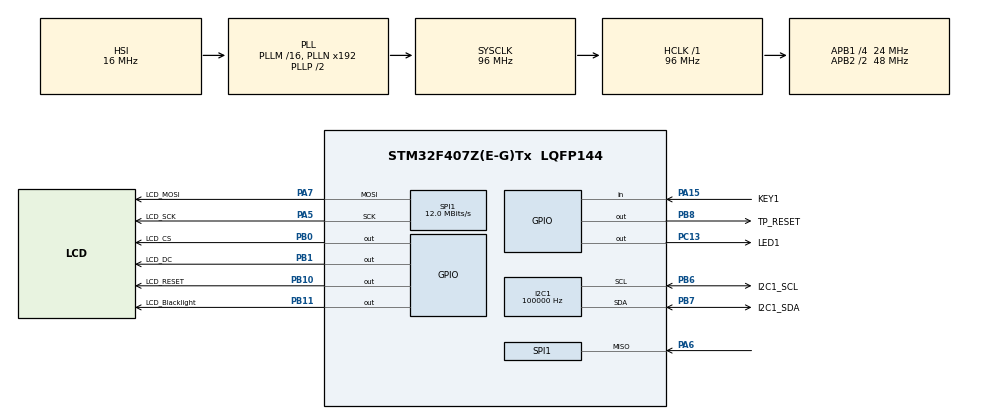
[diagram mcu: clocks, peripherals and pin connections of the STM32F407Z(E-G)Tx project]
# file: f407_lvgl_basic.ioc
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Dma.Request0=SPI1_TX
Dma.SPI1_TX.0.Direction=DMA_MEMORY_TO_PERIPH
Dma.SPI1_TX.0.FIFOMode=DMA_FIFOMODE_DISABLE
Dma.SPI1_TX.0.Instance=DMA2_Stream3
Dma.SPI1_TX.0.MemDataAlignment=DMA_MDATAALIGN_BYTE
Dma.SPI1_TX.0.MemInc=DMA_MINC_ENABLE
Dma.SPI1_TX.0.Mode=DMA_NORMAL
Dma.SPI1_TX.0.PeriphDataAlignment=DMA_PDATAALIGN_BYTE
Dma.SPI1_TX.0.PeriphInc=DMA_PINC_DISABLE
Dma.SPI1_TX.0.Priority=DMA_PRIORITY_LOW
FREERTOS.Tasks01=defaultTask,24,128,StartDefaultTask,Default,NULL,Dynamic,NULL,NULL
I2C1.ClockSpeed=100000
Mcu.Family=STM32F4
Mcu.Name=STM32F407Z(E-G)Tx
Mcu.Package=LQFP144
NVIC.DMA2_Stream3_IRQn=true\:10\:0\:true\:false\:true\:true\:false\:true\:true
NVIC.PriorityGroup=NVIC_PRIORITYGROUP_4
NVIC.TIM6_DAC_IRQn=true\:15\:0\:false\:false\:true\:false\:false\:true\:true
NVIC.TimeBase=TIM6_DAC_IRQn
NVIC.TimeBaseIP=TIM6
PA13.Mode=Serial_Wire
PA13.Signal=SYS_JTMS-SWDIO
PA14.Mode=Serial_Wire
PA14.Signal=SYS_JTCK-SWCLK
PA15.GPIO_Label=KEY1
PA15.GPIO_PuPd=GPIO_PULLUP
PA15.Signal=GPIO_Input
PA5.GPIO_Label=LCD_SCK
PA5.Mode=Full_Duplex_Master
PA5.Signal=SPI1_SCK
PA6.Mode=Full_Duplex_Master
PA6.Signal=SPI1_MISO
PA7.GPIO_Label=LCD_MOSI
PA7.Mode=Full_Duplex_Master
PA7.Signal=SPI1_MOSI
PB0.GPIO_Label=LCD_CS
PB0.Signal=GPIO_Output
PB1.GPIO_Label=LCD_DC
PB1.Signal=GPIO_Output
PB10.GPIO_Label=LCD_RESET
PB10.Signal=GPIO_Output
PB11.GPIO_Label=LCD_Blacklight
PB11.GPIO_PuPd=GPIO_PULLUP
PB11.Signal=GPIO_Output
PB6.GPIO_Label=I2C1_SCL
PB6.Mode=I2C
PB6.Signal=I2C1_SCL
PB7.GPIO_Label=I2C1_SDA
PB7.Mode=I2C
PB7.Signal=I2C1_SDA
PB8.GPIO_Label=TP_RESET
PB8.Signal=GPIO_Output
PC13-ANTI_TAMP.GPIO_Label=LED1
PC13-ANTI_TAMP.Signal=GPIO_Output
ProjectManager.HeapSize=0x200
ProjectManager.StackSize=0x400
ProjectManager.TargetToolchain=STM32CubeIDE
RCC.AHBFreq_Value=96000000
RCC.APB1CLKDivider=RCC_HCLK_DIV4
RCC.APB1Freq_Value=24000000
RCC.APB1TimFreq_Value=48000000
RCC.APB2CLKDivider=RCC_HCLK_DIV2
RCC.APB2Freq_Value=48000000
RCC.APB2TimFreq_Value=96000000
RCC.CortexFreq_Value=96000000
RCC.HCLKFreq_Value=96000000
RCC.HSE_VALUE=25000000
RCC.HSI_VALUE=16000000
RCC.LSE_VALUE=32768
RCC.SYSCLKFreq_VALUE=96000000
RCC.SYSCLKSource=RCC_SYSCLKSOURCE_PLLCLK
RCC.VCOOutputFreq_Value=192000000
SPI1.BaudRatePrescaler=SPI_BAUDRATEPRESCALER_4
SPI1.CLKPhase=SPI_PHASE_1EDGE
SPI1.CLKPolarity=SPI_POLARITY_LOW
SPI1.CalculateBaudRate=12.0 MBits/s
SPI1.Direction=SPI_DIRECTION_2LINES
SPI1.Mode=SPI_MODE_MASTER
SPI1.VirtualType=VM_MASTER
VP_FREERTOS_VS_CMSIS_V2.Mode=CMSIS_V2
VP_SYS_VS_tim6.Mode=TIM6
board=custom

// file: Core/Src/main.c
/* USER CODE BEGIN Header */
/**
  ******************************************************************************
  * @file           : main.c
  * @brief          : Main program body
  ******************************************************************************
  * @attention
  *
  * Copyright (c) 2026 STMicroelectronics.
  * All rights reserved.
  *
  * This software is licensed under terms that can be found in the LICENSE file
  * in the root directory of this software component.
  * If no LICENSE file comes with this software, it is provided AS-IS.
  *
  ******************************************************************************
  */
/* USER CODE END Header */
#include "main.h"
#include "cmsis_os.h"

/* USER CODE BEGIN Includes */
#include "lcd_spi.h"
#include "lvgl/lvgl.h"
#include "lvgl_port.h"
#include "FreeRTOS.h"
#include "task.h"
#include "ui.h"
/* USER CODE END Includes */

I2C_HandleTypeDef hi2c1;

SPI_HandleTypeDef hspi1;
DMA_HandleTypeDef hdma_spi1_tx;

/* Definitions for defaultTask */
osThreadId_t defaultTaskHandle;
const osThreadAttr_t defaultTask_attributes = {
  .name = "defaultTask",
  .stack_size = 128 * 4,
  .priority = (osPriority_t) osPriorityNormal,
};
/* USER CODE BEGIN PV */
volatile HAL_StatusTypeDef touchProbeStatus  =HAL_ERROR;
volatile uint32_t  touchProbeError  =0;//iic

uint8_t touch[5];//坐标
volatile HAL_StatusTypeDef touchStatus;//触摸状态标志

volatile uint16_t touchX = 0;
volatile uint16_t touchY = 0;

osThreadId_t LCDTaskHandle;
/* Inspect in the debugger: minimum free LCD task stack, in bytes. */
volatile uint32_t lcdTaskMinFreeStackBytes;
const osThreadAttr_t lcdTask_attributes = {
  .name = "lcdtTask",
  .stack_size = 8192,
  .priority = (osPriority_t) osPriorityNormal,
};

/* USER CODE END PV */

void SystemClock_Config(void);
static void MX_GPIO_Init(void);
static void MX_DMA_Init(void);
static void MX_SPI1_Init(void);
static void MX_I2C1_Init(void);
void StartDefaultTask(void *argument);

/* USER CODE BEGIN 0 */
static void open_page_cb(lv_event_t *e)
{
    lv_obj_t *page2 = lv_event_get_user_data(e);
    lv_screen_load(page2);
}

static void touch_read(lv_indev_t *indev, lv_indev_data_t *data)
{

	touchStatus = HAL_I2C_Mem_Read(
	    &hi2c1, 0x38U << 1, 0x02,
	    I2C_MEMADD_SIZE_8BIT, touch, 5, 50);

	data->state = LV_INDEV_STATE_RELEASED;
	data->point.x = touchX;
	data->point.y = touchY;

	if(touchStatus == HAL_OK && (touch[0] & 0x0F) ==1U)
	{
		uint16_t x = ((uint16_t)(touch[1]&0x0F) << 8) | touch[2];
		uint16_t y = ((uint16_t)(touch[3]&0x0F) << 8) | touch[4];

		if(x<240 && y<320)
		{
			touchX = x;
			touchY = y;
			data->point.x = x;
			data->point.y = y;
			data->state = LV_INDEV_STATE_PRESSED;

		}
	}

}

static void LCD_Task(void*pvParameters)
{
	(void)pvParameters;
	ST7789_Init();
	lv_init();
	lv_tick_set_cb(HAL_GetTick);
	if (!LVGL_Port_Init()) {
		Error_Handler();
	}

	//传入注册设备
	lv_indev_t *touch_indev = lv_indev_create();
	if (touch_indev == NULL) {
	    Error_Handler();
	}
	lv_indev_set_type(touch_indev, LV_INDEV_TYPE_POINTER);
	lv_indev_set_read_cb(touch_indev, touch_read);
	//

	ui_init();
	ui_set_time(8, 36, 0);
	ui_set_date("MON  /  26 OCT");
	ui_set_weather("SUNNY", 22);
	for (;;) {
		lv_timer_handler();

		lcdTaskMinFreeStackBytes = uxTaskGetStackHighWaterMark(NULL) * sizeof(StackType_t);
				osDelay(10);
		}

	}

/* USER CODE END 0 */

int main(void)
{

  /* MCU Configuration--------------------------------------------------------*/

  /* Reset of all peripherals, Initializes the Flash interface and the Systick. */
  HAL_Init();

  /* Configure the system clock */
  SystemClock_Config();

  /* Initialize all configured peripherals */
  MX_GPIO_Init();
  MX_DMA_Init();
  MX_SPI1_Init();
  MX_I2C1_Init();
  /* USER CODE BEGIN 2 */
  HAL_GPIO_WritePin(TP_RESET_GPIO_Port, TP_RESET_Pin, GPIO_PIN_RESET);
  	HAL_Delay(20);
  	HAL_GPIO_WritePin(TP_RESET_GPIO_Port, TP_RESET_Pin, GPIO_PIN_SET);
  	HAL_Delay(320);

  	touchProbeStatus = HAL_I2C_IsDeviceReady(&hi2c1, 0x38U << 1, 3, 100);
  	touchProbeError = HAL_I2C_GetError(&hi2c1);
  /* USER CODE END 2 */

  /* Init scheduler */
  osKernelInitialize();

  /* Create the thread(s) */
  /* creation of defaultTask */
  defaultTaskHandle = osThreadNew(StartDefaultTask, NULL, &defaultTask_attributes);

  /* USER CODE BEGIN RTOS_THREADS */
  /* add threads, ... */

  LCDTaskHandle = osThreadNew(LCD_Task, NULL, &lcdTask_attributes);
  if (LCDTaskHandle == NULL) {
    Error_Handler();
  }
  /* USER CODE END RTOS_THREADS */

  /* Start scheduler */
  osKernelStart();

  /* We should never get here as control is now taken by the scheduler */

  /* Infinite loop */
  while (1)
  {

  }
}

void SystemClock_Config(void)
{
  RCC_OscInitTypeDef RCC_OscInitStruct = {0};
  RCC_ClkInitTypeDef RCC_ClkInitStruct = {0};

  /** Configure the main internal regulator output voltage
  */
  __HAL_RCC_PWR_CLK_ENABLE();
  __HAL_PWR_VOLTAGESCALING_CONFIG(PWR_REGULATOR_VOLTAGE_SCALE1);

  /** Initializes the RCC Oscillators according to the specified parameters
  * in the RCC_OscInitTypeDef structure.
  */
  RCC_OscInitStruct.OscillatorType = RCC_OSCILLATORTYPE_HSI;
  RCC_OscInitStruct.HSIState = RCC_HSI_ON;
  RCC_OscInitStruct.HSICalibrationValue = RCC_HSICALIBRATION_DEFAULT;
  RCC_OscInitStruct.PLL.PLLState = RCC_PLL_ON;
  RCC_OscInitStruct.PLL.PLLSource = RCC_PLLSOURCE_HSI;
  RCC_OscInitStruct.PLL.PLLM = 16;
  RCC_OscInitStruct.PLL.PLLN = 192;
  RCC_OscInitStruct.PLL.PLLP = RCC_PLLP_DIV2;
  RCC_OscInitStruct.PLL.PLLQ = 4;
  if (HAL_RCC_OscConfig(&RCC_OscInitStruct) != HAL_OK)
  {
    Error_Handler();
  }

  /** Initializes the CPU, AHB and APB buses clocks
  */
  RCC_ClkInitStruct.ClockType = RCC_CLOCKTYPE_HCLK|RCC_CLOCKTYPE_SYSCLK
                              |RCC_CLOCKTYPE_PCLK1|RCC_CLOCKTYPE_PCLK2;
  RCC_ClkInitStruct.SYSCLKSource = RCC_SYSCLKSOURCE_PLLCLK;
  RCC_ClkInitStruct.AHBCLKDivider = RCC_SYSCLK_DIV1;
  RCC_ClkInitStruct.APB1CLKDivider = RCC_HCLK_DIV4;
  RCC_ClkInitStruct.APB2CLKDivider = RCC_HCLK_DIV2;

  if (HAL_RCC_ClockConfig(&RCC_ClkInitStruct, FLASH_LATENCY_3) != HAL_OK)
  {
    Error_Handler();
  }
}

static void MX_I2C1_Init(void)
{

  hi2c1.Instance = I2C1;
  hi2c1.Init.ClockSpeed = 100000;
  hi2c1.Init.DutyCycle = I2C_DUTYCYCLE_2;
  hi2c1.Init.OwnAddress1 = 0;
  hi2c1.Init.AddressingMode = I2C_ADDRESSINGMODE_7BIT;
  hi2c1.Init.DualAddressMode = I2C_DUALADDRESS_DISABLE;
  hi2c1.Init.OwnAddress2 = 0;
  hi2c1.Init.GeneralCallMode = I2C_GENERALCALL_DISABLE;
  hi2c1.Init.NoStretchMode = I2C_NOSTRETCH_DISABLE;
  if (HAL_I2C_Init(&hi2c1) != HAL_OK)
  {
    Error_Handler();
  }

}

static void MX_SPI1_Init(void)
{

  /* SPI1 parameter configuration*/
  hspi1.Instance = SPI1;
  hspi1.Init.Mode = SPI_MODE_MASTER;
  hspi1.Init.Direction = SPI_DIRECTION_2LINES;
  hspi1.Init.DataSize = SPI_DATASIZE_8BIT;
  hspi1.Init.CLKPolarity = SPI_POLARITY_LOW;
  hspi1.Init.CLKPhase = SPI_PHASE_1EDGE;
  hspi1.Init.NSS = SPI_NSS_SOFT;
  hspi1.Init.BaudRatePrescaler = SPI_BAUDRATEPRESCALER_4;
  hspi1.Init.FirstBit = SPI_FIRSTBIT_MSB;
  hspi1.Init.TIMode = SPI_TIMODE_DISABLE;
  hspi1.Init.CRCCalculation = SPI_CRCCALCULATION_DISABLE;
  hspi1.Init.CRCPolynomial = 10;
  if (HAL_SPI_Init(&hspi1) != HAL_OK)
  {
    Error_Handler();
  }

}

static void MX_DMA_Init(void)
{

  /* DMA controller clock enable */
  __HAL_RCC_DMA2_CLK_ENABLE();

  /* DMA interrupt init */
  /* DMA2_Stream3_IRQn interrupt configuration */
  HAL_NVIC_SetPriority(DMA2_Stream3_IRQn, 10, 0);
  HAL_NVIC_EnableIRQ(DMA2_Stream3_IRQn);

}

static void MX_GPIO_Init(void)
{
  GPIO_InitTypeDef GPIO_InitStruct = {0};

  /* GPIO Ports Clock Enable */
  __HAL_RCC_GPIOC_CLK_ENABLE();
  __HAL_RCC_GPIOA_CLK_ENABLE();
  __HAL_RCC_GPIOB_CLK_ENABLE();

  /*Configure GPIO pin Output Level */
  HAL_GPIO_WritePin(LED1_GPIO_Port, LED1_Pin, GPIO_PIN_RESET);

  /*Configure GPIO pin Output Level */
  HAL_GPIO_WritePin(GPIOB, LCD_CS_Pin|LCD_DC_Pin|LCD_RESET_Pin|LCD_Blacklight_Pin
                          |TP_RESET_Pin, GPIO_PIN_RESET);

  /*Configure GPIO pin : LED1_Pin */
  GPIO_InitStruct.Pin = LED1_Pin;
  GPIO_InitStruct.Mode = GPIO_MODE_OUTPUT_PP;
  GPIO_InitStruct.Pull = GPIO_NOPULL;
  GPIO_InitStruct.Speed = GPIO_SPEED_FREQ_LOW;
  HAL_GPIO_Init(LED1_GPIO_Port, &GPIO_InitStruct);

  /*Configure GPIO pins : LCD_CS_Pin LCD_DC_Pin LCD_RESET_Pin TP_RESET_Pin */
  GPIO_InitStruct.Pin = LCD_CS_Pin|LCD_DC_Pin|LCD_RESET_Pin|TP_RESET_Pin;
  GPIO_InitStruct.Mode = GPIO_MODE_OUTPUT_PP;
  GPIO_InitStruct.Pull = GPIO_NOPULL;
  GPIO_InitStruct.Speed = GPIO_SPEED_FREQ_LOW;
  HAL_GPIO_Init(GPIOB, &GPIO_InitStruct);

  /*Configure GPIO pin : LCD_Blacklight_Pin */
  GPIO_InitStruct.Pin = LCD_Blacklight_Pin;
  GPIO_InitStruct.Mode = GPIO_MODE_OUTPUT_PP;
  GPIO_InitStruct.Pull = GPIO_PULLUP;
  GPIO_InitStruct.Speed = GPIO_SPEED_FREQ_LOW;
  HAL_GPIO_Init(LCD_Blacklight_GPIO_Port, &GPIO_InitStruct);

  /*Configure GPIO pin : KEY1_Pin */
  GPIO_InitStruct.Pin = KEY1_Pin;
  GPIO_InitStruct.Mode = GPIO_MODE_INPUT;
  GPIO_InitStruct.Pull = GPIO_PULLUP;
  HAL_GPIO_Init(KEY1_GPIO_Port, &GPIO_InitStruct);

}

void StartDefaultTask(void *argument)
{
  for(;;)
  {
    osDelay(1);
  }
}

void HAL_TIM_PeriodElapsedCallback(TIM_HandleTypeDef *htim)
{
  if (htim->Instance == TIM6)
  {
    HAL_IncTick();
  }
}

void Error_Handler(void)
{
  __disable_irq();
  while (1)
  {
  }
}
